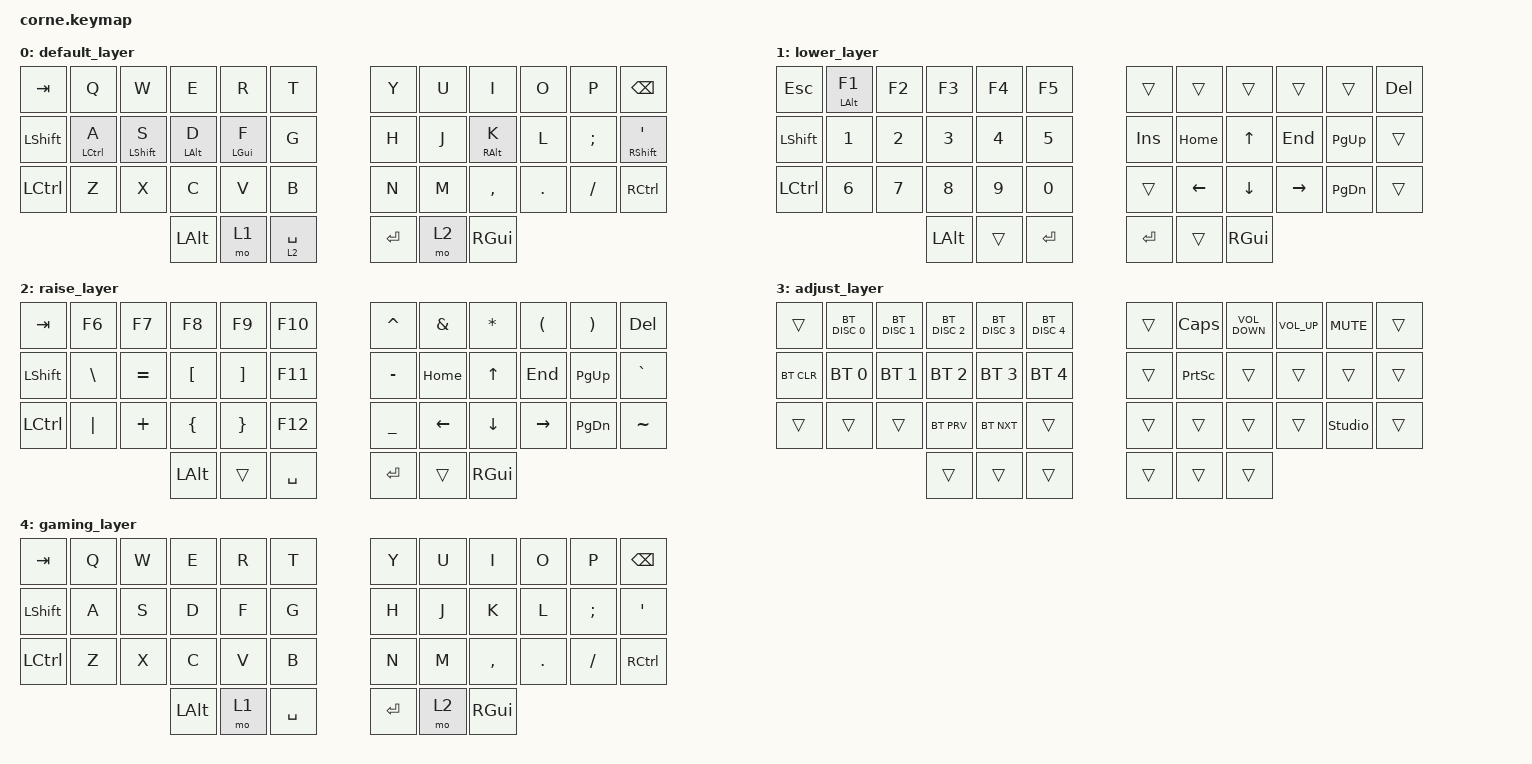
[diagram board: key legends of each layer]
/*
 * Copyright (c) 2020 The ZMK Contributors
 *
 * SPDX-License-Identifier: MIT
 */

#include <behaviors.dtsi>
#include <dt-bindings/zmk/bt.h>
#include <dt-bindings/zmk/keys.h>

/ {
    combos {
        compatible = "zmk,combos";

        f11_combo {
            bindings = <&kp F11>;
            key-positions = <3 4 38>;
        };

        enter_combo {
            bindings = <&kp RET>;
            key-positions = <16 15>;
        };
    };

    keymap {
        compatible = "zmk,keymap";

        default_layer {
            // -----------------------------------------------------------------------------------------
            // |  TAB |  Q  |  W  |  E  |  R  |  T  |   |  Y  |  U   |  I  |  O  |  P  | BSPC |
            // | CTRL |  A  |  S  |  D  |  F  |  G  |   |  H  |  J   |  K  |  L  |  ;  |  '   |
            // | SHFT |  Z  |  X  |  C  |  V  |  B  |   |  N  |  M   |  ,  |  .  |  /  | ESC  |
            //                    | GUI | LWR | SPC |   | ENT | RSE  | ALT |

            bindings = <
&kp TAB           &kp Q               &kp W             &kp E           &kp R           &kp T          &kp Y    &kp U  &kp I            &kp O    &kp P     &kp BSPC
&kp LEFT_SHIFT    &mt LEFT_CONTROL A  &mt LEFT_SHIFT S  &mt LEFT_ALT D  &mt LEFT_GUI F  &kp G          &kp H    &kp J  &mt RIGHT_ALT K  &kp L    &kp SEMI  &mt RIGHT_SHIFT SQT
&kp LEFT_CONTROL  &kp Z               &kp X             &kp C           &kp V           &kp B          &kp N    &kp M  &kp COMMA        &kp DOT  &kp FSLH  &kp RIGHT_CONTROL
                                                        &kp LEFT_ALT    &mo 1           &lt 2 SPACE    &kp RET  &mo 2  &kp RIGHT_GUI
            >;
        };

        lower_layer {
            // -----------------------------------------------------------------------------------------
            // |  TAB |  1  |  2  |  3  |  4  |  5  |   |  6  |  7  |  8  |  9  |  0  | BSPC |
            // | BTCLR| BT1 | BT2 | BT3 | BT4 | BT5 |   | LFT | DWN |  UP | RGT |     |      |
            // | SHFT |     |     |     |     |     |   |     |     |     |     |     |      |
            //                    | GUI |     | SPC |   | ENT |     | ALT |

            bindings = <
&kp ESCAPE        &mt LEFT_ALT F1  &kp F2        &kp F3        &kp F4        &kp F5          &trans      &trans    &trans         &trans     &trans         &kp DELETE
&kp LEFT_SHIFT    &kp NUMBER_1     &kp NUMBER_2  &kp NUMBER_3  &kp NUMBER_4  &kp NUMBER_5    &kp INSERT  &kp HOME  &kp UP         &kp END    &kp PAGE_UP    &trans
&kp LEFT_CONTROL  &kp NUMBER_6     &kp NUMBER_7  &kp NUMBER_8  &kp NUMBER_9  &kp NUMBER_0    &trans      &kp LEFT  &kp DOWN       &kp RIGHT  &kp PAGE_DOWN  &trans
                                                 &kp LEFT_ALT  &trans        &kp ENTER       &kp RET     &trans    &kp RIGHT_GUI
            >;
        };

        raise_layer {
            // -----------------------------------------------------------------------------------------
            // |  TAB |  !  |  @  |  #  |  $  |  %  |   |  ^  |  &  |  *  |  (  |  )  | BSPC |
            // | CTRL |     |     |     |     |     |   |  -  |  =  |  [  |  ]  |  \  |  `   |
            // | SHFT |     |     |     |     |     |   |  _  |  +  |  {  |  }  | "|" |  ~   |
            //                    | GUI |     | SPC |   | ENT |     | ALT |

            bindings = <
&kp TAB           &kp F6         &kp F7     &kp F8            &kp F9             &kp F10      &kp CARET  &kp AMPS  &kp ASTRK      &kp LPAR   &kp RPAR       &kp DELETE
&kp LEFT_SHIFT    &kp BACKSLASH  &kp EQUAL  &kp LEFT_BRACKET  &kp RIGHT_BRACKET  &kp F11      &kp MINUS  &kp HOME  &kp UP         &kp END    &kp PAGE_UP    &kp GRAVE
&kp LEFT_CONTROL  &kp PIPE       &kp PLUS   &kp LEFT_BRACE    &kp RIGHT_BRACE    &kp F12      &kp UNDER  &kp LEFT  &kp DOWN       &kp RIGHT  &kp PAGE_DOWN  &kp TILDE
                                            &kp LEFT_ALT      &trans             &kp SPACE    &kp RET    &trans    &kp RIGHT_GUI
            >;
        };

        adjust_layer {
            // |  TAB |  Q  |  W  |  E  |  R  |  T  |   |  Y  |  U   |  I  |  O  |  P  | BSPC |
            // | CTRL |  A  |  S  |  D  |  F  |  G  |   |  H  |  J   |  K  |  L  |  ;  |  '   |
            // | SHFT |  Z  |  X  |  C  |  V  |  B  |   |  N  |  M   |  ,  |  .  |  /  | ESC  |
            //                    | GUI | LWR | SPC |   | ENT | RSE  | ALT |
            bindings = <
&trans      &bt BT_DISC 0  &bt BT_DISC 1  &bt BT_DISC 2  &bt BT_DISC 3  &bt BT_DISC 4   &trans  &kp CAPSLOCK     &kp C_VOLUME_DOWN  &kp C_VOLUME_UP  &kp K_MUTE      &trans
&bt BT_CLR  &bt BT_SEL 0   &bt BT_SEL 1   &bt BT_SEL 2   &bt BT_SEL 3   &bt BT_SEL 4    &trans  &kp PRINTSCREEN  &trans             &trans           &trans          &trans
&trans      &trans         &trans         &bt BT_PRV     &bt BT_NXT     &trans          &trans  &trans           &trans             &trans           &studio_unlock  &trans
                                          &trans         &trans         &trans          &trans  &trans           &trans
            >;
        };
        gaming_layer {
            // -----------------------------------------------------------------------------------------
            // |  TAB |  Q  |  W  |  E  |  R  |  T  |   |  Y  |  U   |  I  |  O  |  P  | BSPC |
            // | CTRL |  A  |  S  |  D  |  F  |  G  |   |  H  |  J   |  K  |  L  |  ;  |  '   |
            // | SHFT |  Z  |  X  |  C  |  V  |  B  |   |  N  |  M   |  ,  |  .  |  /  | ESC  |
            //                    | GUI | LWR | SPC |   | ENT | RSE  | ALT |

            bindings = <
&kp TAB           &kp Q               &kp W             &kp E           &kp R           &kp T          &kp Y    &kp U  &kp I            &kp O    &kp P     &kp BSPC
&kp LEFT_SHIFT    &kp A               &kp S             &kp D           &kp F           &kp G          &kp H    &kp J  &kp K            &kp L    &kp SEMI  &kp SQT
&kp LEFT_CONTROL  &kp Z               &kp X             &kp C           &kp V           &kp B          &kp N    &kp M  &kp COMMA        &kp DOT  &kp FSLH  &kp RIGHT_CONTROL
                                                        &kp LEFT_ALT    &mo 1           &kp SPACE      &kp RET  &mo 2  &kp RIGHT_GUI
            >;
        };
    };
};

/ {
    conditional_layers {
        compatible = "zmk,conditional-layers";

        tri_layer {
            if-layers = <1 2>;
            then-layer = <3>;
        };
    };
};

&mt {
    tapping-term-ms = <280>;
    flavor = "tap-preferred";
    require-prior-idle-ms = <150>;
};
